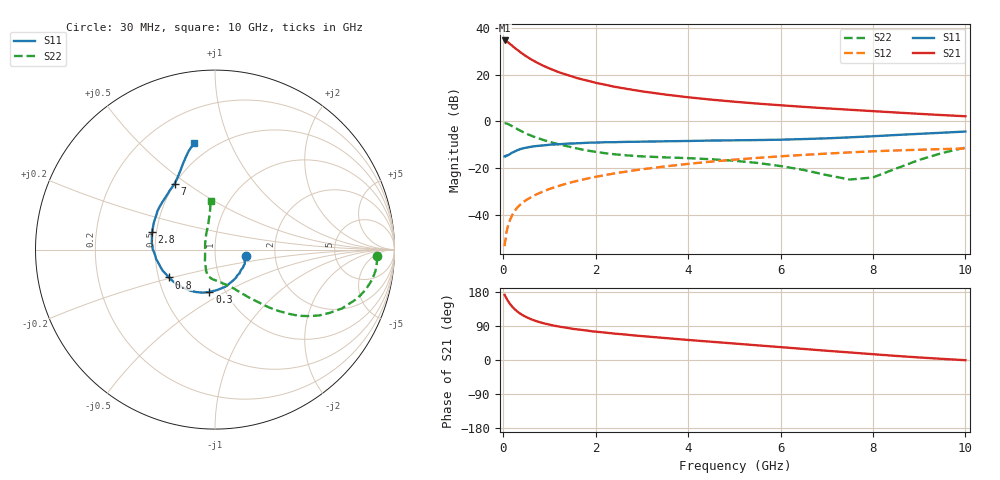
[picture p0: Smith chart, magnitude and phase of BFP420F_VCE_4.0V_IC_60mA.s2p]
! Infineon Technologies  Discrete & RF Semiconductors
! BFP420F
! VCE =  4.0 V,  IC =  60 mA
! Common Emitter S-Parameters:  Sep 2011
# GHz  S  MA  R  50
!  f  S11  S21  S12  S22
! GHz  MAG  ANG  MAG  ANG  MAG  ANG  MAG  ANG
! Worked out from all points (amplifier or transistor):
!   54 points, 30 MHz to 10 GHz, reference 50 ohm
!   highest |S21| = 34.7 dB at 30 MHz (marker M1)
!   |S21| within 3 dB of that: start of sweep to 238.3 MHz
!   unconditionally stable (mu >= 1): 1.215 GHz to end of sweep
!   at 120 MHz: K = 0.49, MSG = 38.7 dB, |S12| = -43.9 dB
!   at 1.3 GHz: K = 1.02, MAG = 23.0 dB, |S12| = -27.1 dB
!   at 10 GHz: K = 1.21, MAG = 4.1 dB, |S12| = -11.7 dB
!   S11 on the Smith chart (normalised r, x): 30 MHz: 1.41, -0.11; 300 MHz: 0.84, -0.42; 800 MHz: 0.57, -0.19; 2.8 GHz: 0.47, +0.10; 7 GHz: 0.50, +0.45; 10 GHz: 0.40, +0.74
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0.03  0.177 -12.1  54.11 172.0  0.0021 86.6  0.9016 -2.4
0.06  0.1842 -25.5  52.56 165.0  0.0035 79.1  0.9017 -7.6
0.1  0.1873 -42.0  49.74 156.4  0.0056 80.3  0.8753 -13.6
0.12  0.19 -49.4  47.97 152.4  0.0064 78.9  0.8579 -16.3
0.14  0.1966 -55.4  46.04 149.0  0.0073 78.1  0.8386 -18.7
0.2  0.2145 -74.0  41.23 140.1  0.01 75.4  0.7794 -24.9
0.25  0.2253 -86.5  37.45 133.8  0.012 74.3  0.7295 -28.9
0.3  0.2382 -97.6  34.37 128.4  0.014 73.1  0.6864 -32.3
0.4  0.2586 -113.9  28.86 119.8  0.0173 71.5  0.6082 -37.4
0.5  0.2721 -125.7  24.68 113.2  0.0205 70.7  0.545 -41.0
0.6  0.2842 -135.4  21.38 107.7  0.0235 70.3  0.4936 -43.9
0.8  0.3004 -148.9  16.73 99.3  0.0294 70.1  0.4186 -48.2
1  0.3142 -158.0  13.59 93.4  0.0353 70.1  0.3635 -51.7
1.2  0.3223 -165.5  11.33 88.3  0.0411 69.7  0.3219 -55.1
1.7  0.3409 -178.0  7.954 79.4  0.0556 68.4  0.2489 -62.9
2  0.3495 176.2  6.688 74.8  0.0644 67.2  0.2206 -68.3
2.8  0.3635 164.7  4.724 65.2  0.0877 63.5  0.1822 -81.8
3.5  0.3724 156.2  3.75 58.0  0.1077 59.8  0.1684 -91.7
5.5  0.3957 137.4  2.397 38.7  0.1641 47.2  0.1281 -112.7
7  0.431 121.4  1.894 24.4  0.2028 37.1  0.0703 -142.0
8.5  0.508 110.7  1.543 10.8  0.237 26.3  0.0969 120.7
10  0.6027 101.2  1.282 -0.5  0.2612 16.8  0.2737 94.9
